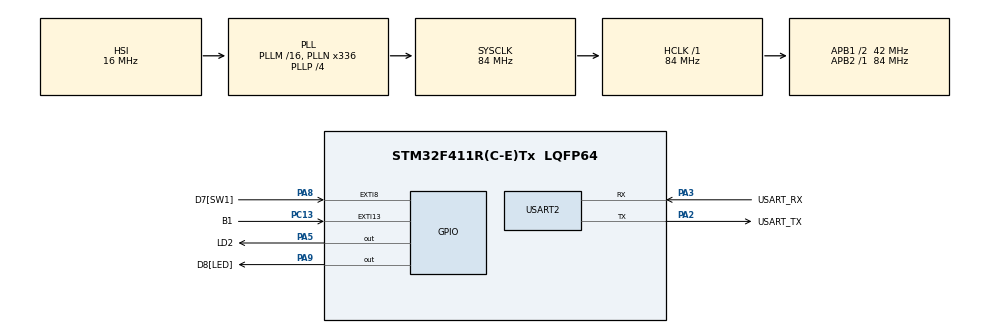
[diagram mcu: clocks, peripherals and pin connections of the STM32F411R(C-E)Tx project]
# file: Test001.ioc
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Mcu.Family=STM32F4
Mcu.Name=STM32F411R(C-E)Tx
Mcu.Package=LQFP64
NVIC.EXTI15_10_IRQn=true\:0\:0\:false\:false\:true\:true\:true\:true
NVIC.EXTI9_5_IRQn=true\:0\:0\:false\:false\:true\:true\:true\:true
NVIC.PriorityGroup=NVIC_PRIORITYGROUP_0
PA13.GPIO_Label=TMS
PA13.Mode=Serial_Wire
PA13.Signal=SYS_JTMS-SWDIO
PA14.GPIO_Label=TCK
PA14.Mode=Serial_Wire
PA14.Signal=SYS_JTCK-SWCLK
PA2.GPIO_Label=USART_TX
PA2.Mode=Asynchronous
PA2.Signal=USART2_TX
PA3.GPIO_Label=USART_RX
PA3.Mode=Asynchronous
PA3.Signal=USART2_RX
PA5.GPIO_Label=LD2
PA5.Signal=GPIO_Output
PA8.GPIO_Label=D7[SW1]
PA8.Signal=GPXTI8
PA9.GPIO_Label=D8[LED]
PA9.Signal=GPIO_Output
PB3.GPIO_Label=SWO
PB3.Signal=SYS_JTDO-SWO
PC13-ANTI_TAMP.GPIO_Label=B1
PC13-ANTI_TAMP.Signal=GPXTI13
PC14-OSC32_IN.Mode=LSE-External-Oscillator
PC14-OSC32_IN.Signal=RCC_OSC32_IN
PC15-OSC32_OUT.Mode=LSE-External-Oscillator
PC15-OSC32_OUT.Signal=RCC_OSC32_OUT
PH0\ -\ OSC_IN.Mode=HSE-External-Clock-Source
PH0\ -\ OSC_IN.Signal=RCC_OSC_IN
PH1\ -\ OSC_OUT.Mode=HSE-External-Clock-Source
PH1\ -\ OSC_OUT.Signal=RCC_OSC_OUT
ProjectManager.HeapSize=0x200
ProjectManager.StackSize=0x400
ProjectManager.TargetToolchain=STM32CubeIDE
RCC.48MHZClocksFreq_Value=84000000
RCC.AHBFreq_Value=84000000
RCC.APB1CLKDivider=RCC_HCLK_DIV2
RCC.APB1Freq_Value=42000000
RCC.APB1TimFreq_Value=84000000
RCC.APB2Freq_Value=84000000
RCC.APB2TimFreq_Value=84000000
RCC.CortexFreq_Value=84000000
RCC.FLatency-AdvancedSettings=FLASH_LATENCY_2
RCC.HCLKFreq_Value=84000000
RCC.HSE_VALUE=8000000
RCC.HSI_VALUE=16000000
RCC.PLLN=336
RCC.PLLP=RCC_PLLP_DIV4
RCC.SYSCLKFreq_VALUE=84000000
RCC.SYSCLKSource=RCC_SYSCLKSOURCE_PLLCLK
RCC.VCOOutputFreq_Value=336000000
USART2.VirtualMode=VM_ASYNC
board=NUCLEO-F411RE

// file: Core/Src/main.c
/* USER CODE BEGIN Header */
/**
  ******************************************************************************
  * @file           : main.c
  * @brief          : Main program body
  ******************************************************************************
  * @attention
  *
  * Copyright (c) 2024 STMicroelectronics.
  * All rights reserved.
  *
  * This software is licensed under terms that can be found in the LICENSE file
  * in the root directory of this software component.
  * If no LICENSE file comes with this software, it is provided AS-IS.
  *
  ******************************************************************************
  */
/* USER CODE END Header */
#include "main.h"

/* USER CODE BEGIN Includes */
#include <stdio.h>
/* USER CODE END Includes */

UART_HandleTypeDef huart2;

void SystemClock_Config(void);
static void MX_GPIO_Init(void);
static void MX_USART2_UART_Init(void);

/* USER CODE BEGIN 0 */
void StandBy()
{
	  while(HAL_GPIO_ReadPin(B1_GPIO_Port, B1_Pin));		// Wait until B1 == 0 (Press)
}
int mode = 0;	// mode = 0 : Stop, mode = 1 : Flash
int ival = 1000;	// interval
void HAL_GPIO_EXTI_Callback(uint16_t GPIO_Pin)	// External Interrupt ISR
{
	switch(GPIO_Pin)
	{
	case B1_Pin :		// Start & Stop
		mode = mode?0:1;
		break;
	case D7_Pin :		// Flash interval
		ival = (ival <= 200)?1000 : ival - 200;	// ival 1000 부터 200 씩 감소
		break;
	}
}
/* USER CODE END 0 */

int main(void)
{

  /* MCU Configuration--------------------------------------------------------*/

  /* Reset of all peripherals, Initializes the Flash interface and the Systick. */
  HAL_Init();

  /* Configure the system clock */
  SystemClock_Config();

  /* Initialize all configured peripherals */
  MX_GPIO_Init();
  MX_USART2_UART_Init();
  /* USER CODE BEGIN 2 */
 // StandBy();
  /* USER CODE END 2 */

  /* Infinite loop */
  /* USER CODE BEGIN WHILE */

  while (1)
  {
/*	  if(!HAL_GPIO_ReadPin(B1_GPIO_Port, B1_Pin))
	  {
		  mode = mode?0:1; //	if(mode == 0) mode = 1; else mode = 0;
	  }*/
	  /*if(mode)
	  {
	  HAL_GPIO_WritePin(LD2_GPIO_Port, LD2_Pin, 1);
	  HAL_Delay(50);	// mili_second
	  HAL_GPIO_WritePin(LD2_GPIO_Port, LD2_Pin, 0);
	  HAL_Delay(50);	// mili_second
	  }*/
	  if(mode)
	  {
	  HAL_GPIO_WritePin(LD2_GPIO_Port, LD2_Pin, 1);
	  HAL_Delay(ival);	// mili_second
	  HAL_GPIO_WritePin(LD2_GPIO_Port, LD2_Pin, 0);
	  HAL_Delay(ival);	// mili_second
	  }
    /* USER CODE END WHILE */

  }
}

void SystemClock_Config(void)
{
  RCC_OscInitTypeDef RCC_OscInitStruct = {0};
  RCC_ClkInitTypeDef RCC_ClkInitStruct = {0};

  /** Configure the main internal regulator output voltage
  */
  __HAL_RCC_PWR_CLK_ENABLE();
  __HAL_PWR_VOLTAGESCALING_CONFIG(PWR_REGULATOR_VOLTAGE_SCALE1);

  /** Initializes the RCC Oscillators according to the specified parameters
  * in the RCC_OscInitTypeDef structure.
  */
  RCC_OscInitStruct.OscillatorType = RCC_OSCILLATORTYPE_HSI;
  RCC_OscInitStruct.HSIState = RCC_HSI_ON;
  RCC_OscInitStruct.HSICalibrationValue = RCC_HSICALIBRATION_DEFAULT;
  RCC_OscInitStruct.PLL.PLLState = RCC_PLL_ON;
  RCC_OscInitStruct.PLL.PLLSource = RCC_PLLSOURCE_HSI;
  RCC_OscInitStruct.PLL.PLLM = 16;
  RCC_OscInitStruct.PLL.PLLN = 336;
  RCC_OscInitStruct.PLL.PLLP = RCC_PLLP_DIV4;
  RCC_OscInitStruct.PLL.PLLQ = 4;
  if (HAL_RCC_OscConfig(&RCC_OscInitStruct) != HAL_OK)
  {
    Error_Handler();
  }

  /** Initializes the CPU, AHB and APB buses clocks
  */
  RCC_ClkInitStruct.ClockType = RCC_CLOCKTYPE_HCLK|RCC_CLOCKTYPE_SYSCLK
                              |RCC_CLOCKTYPE_PCLK1|RCC_CLOCKTYPE_PCLK2;
  RCC_ClkInitStruct.SYSCLKSource = RCC_SYSCLKSOURCE_PLLCLK;
  RCC_ClkInitStruct.AHBCLKDivider = RCC_SYSCLK_DIV1;
  RCC_ClkInitStruct.APB1CLKDivider = RCC_HCLK_DIV2;
  RCC_ClkInitStruct.APB2CLKDivider = RCC_HCLK_DIV1;

  if (HAL_RCC_ClockConfig(&RCC_ClkInitStruct, FLASH_LATENCY_2) != HAL_OK)
  {
    Error_Handler();
  }
}

static void MX_USART2_UART_Init(void)
{

  huart2.Instance = USART2;
  huart2.Init.BaudRate = 115200;
  huart2.Init.WordLength = UART_WORDLENGTH_8B;
  huart2.Init.StopBits = UART_STOPBITS_1;
  huart2.Init.Parity = UART_PARITY_NONE;
  huart2.Init.Mode = UART_MODE_TX_RX;
  huart2.Init.HwFlowCtl = UART_HWCONTROL_NONE;
  huart2.Init.OverSampling = UART_OVERSAMPLING_16;
  if (HAL_UART_Init(&huart2) != HAL_OK)
  {
    Error_Handler();
  }

}

static void MX_GPIO_Init(void)
{
  GPIO_InitTypeDef GPIO_InitStruct = {0};

  /* GPIO Ports Clock Enable */
  __HAL_RCC_GPIOC_CLK_ENABLE();
  __HAL_RCC_GPIOH_CLK_ENABLE();
  __HAL_RCC_GPIOA_CLK_ENABLE();
  __HAL_RCC_GPIOB_CLK_ENABLE();

  /*Configure GPIO pin Output Level */
  HAL_GPIO_WritePin(GPIOA, LD2_Pin|D8_Pin, GPIO_PIN_RESET);

  /*Configure GPIO pin : B1_Pin */
  GPIO_InitStruct.Pin = B1_Pin;
  GPIO_InitStruct.Mode = GPIO_MODE_IT_RISING;
  GPIO_InitStruct.Pull = GPIO_NOPULL;
  HAL_GPIO_Init(B1_GPIO_Port, &GPIO_InitStruct);

  /*Configure GPIO pins : LD2_Pin D8_Pin */
  GPIO_InitStruct.Pin = LD2_Pin|D8_Pin;
  GPIO_InitStruct.Mode = GPIO_MODE_OUTPUT_PP;
  GPIO_InitStruct.Pull = GPIO_NOPULL;
  GPIO_InitStruct.Speed = GPIO_SPEED_FREQ_LOW;
  HAL_GPIO_Init(GPIOA, &GPIO_InitStruct);

  /*Configure GPIO pin : D7_Pin */
  GPIO_InitStruct.Pin = D7_Pin;
  GPIO_InitStruct.Mode = GPIO_MODE_IT_RISING;
  GPIO_InitStruct.Pull = GPIO_NOPULL;
  HAL_GPIO_Init(D7_GPIO_Port, &GPIO_InitStruct);

  /* EXTI interrupt init*/
  HAL_NVIC_SetPriority(EXTI9_5_IRQn, 0, 0);
  HAL_NVIC_EnableIRQ(EXTI9_5_IRQn);

  HAL_NVIC_SetPriority(EXTI15_10_IRQn, 0, 0);
  HAL_NVIC_EnableIRQ(EXTI15_10_IRQn);

}

void Error_Handler(void)
{
  __disable_irq();
  while (1)
  {
  }
}
